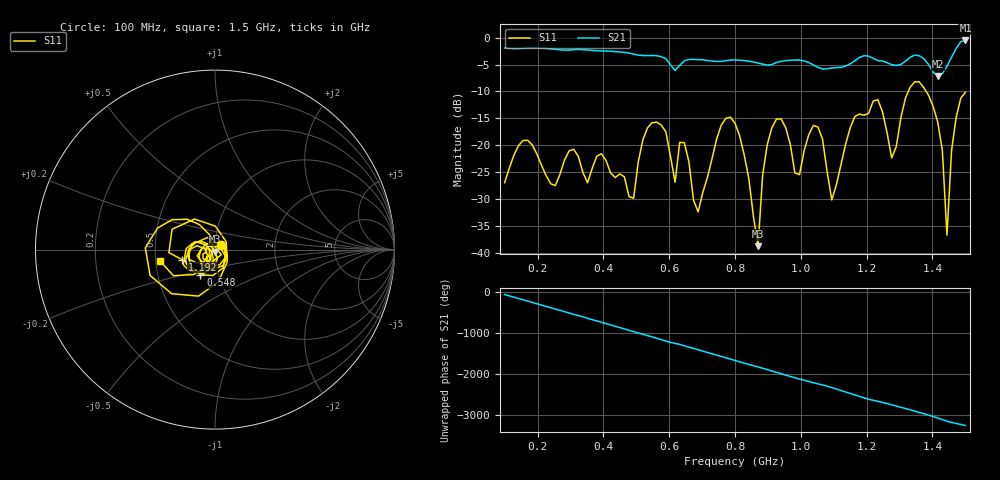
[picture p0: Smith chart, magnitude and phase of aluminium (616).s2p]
! NanoVNA-App
! Date: 2025-09-25 15:00:04
! Start: 100MHz Stop: 1,5GHz Points: 101
! S-Parameter data: F S11 S21 S12 S22
# Hz S RI R 50
!  Frequency  S11_Real  S11_Imag  S21_Real  S21_Imag  S12_Real  S12_Imag  S22_Real  S22_Imag
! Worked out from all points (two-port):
!   101 points, 100 MHz to 1.5 GHz, reference 50 ohm
!   highest |S21| = -0.52 dB at 1.5 GHz (marker M1); lowest = -7.2 dB at 1.416 GHz (marker M2)
!   |S21| within 3 dB of the highest: start of sweep to 574.9 MHz; 1.459 GHz to end of sweep (the widest 2 of 4)
!   lowest |S11| = -38.8 dB at 870 MHz (marker M3), VSWR 1.02, Z = 50.2 - j1.14 ohm
!   |S11| at or under -10 dB: start of sweep to 1.327 GHz; 1.381 GHz to end of sweep
!   S12 and S22 are empty: the file has one direction only
!   S11 on the Smith chart (normalised r, x): 100 MHz: 1.07, +0.06; 548 MHz: 0.82, -0.24; 1.192 GHz: 0.69, -0.08; 1.5 GHz: 0.53, -0.08
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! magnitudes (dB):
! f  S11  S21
! 100 MHz  -27.0  -1.9
! 156 MHz  -19.1  -2.0
! 338 MHz  -25.1  -2.2
! 492 MHz  -29.9  -3.1
! 548 MHz  -15.8  -3.3
! 576 MHz  -16.3  -3.5
! 646 MHz  -19.5  -4.3
! 688 MHz  -32.4  -4.1
! 800 MHz  -15.9  -4.1
! 870 MHz  -38.8  -4.7
! 912 MHz  -16.7  -5.0
! 996 MHz  -25.5  -4.2
! 1.038 GHz  -16.3  -5.1
! 1.094 GHz  -30.2  -5.6
! 1.192 GHz  -14.4  -3.3
! 1.234 GHz  -11.5  -4.3
! 1.276 GHz  -22.4  -5.0
! 1.346 GHz  -8.2  -3.2
! 1.416 GHz  -15.7  -7.2
! 1.444 GHz  -36.7  -5.3
! 1.458 GHz  -21.0  -3.6
! 1.5 GHz  -10.2  -0.5
